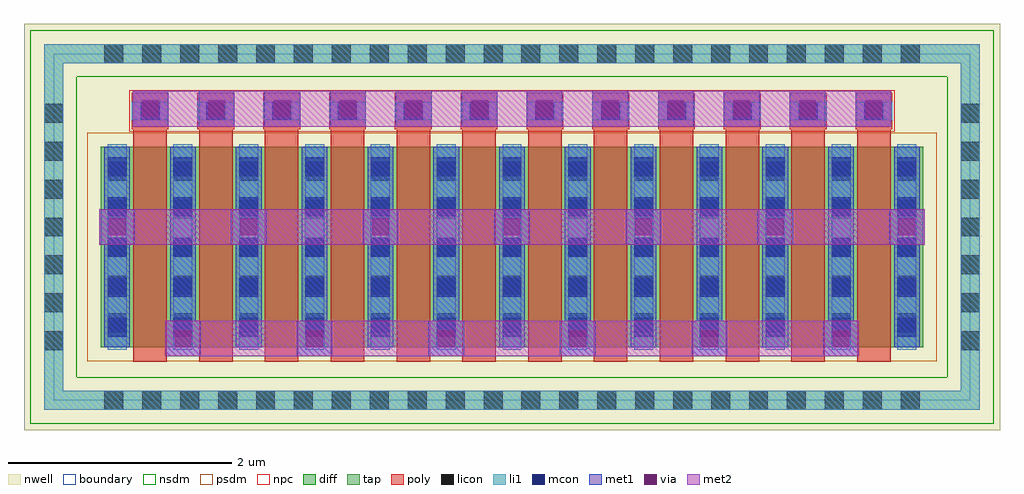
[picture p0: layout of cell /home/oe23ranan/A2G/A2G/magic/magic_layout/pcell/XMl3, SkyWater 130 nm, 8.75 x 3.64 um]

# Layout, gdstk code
import gdstk
lib = gdstk.Library(unit=1e-6, precision=1e-09)
def R(c, l, rs):  # rectangles x0, y0, x1, y1
    for r in rs: c.add(gdstk.rectangle(r[:2], r[2:], *l))
def A(c, l, x, y, w, h, nx, ny, dx, dy):  # array of equal rectangles
    R(c, l, [(x+i*dx, y+j*dy, x+i*dx+w, y+j*dy+h) for i in range(nx) for j in range(ny)])
nwell = (64, 20)
diff = (65, 20)
tap = (65, 44)
poly = (66, 20)
licon = (66, 44)
li1 = (67, 20)
mcon = (67, 44)
met1 = (68, 20)
via = (68, 44)
met2 = (69, 20)
nsdm = (93, 44)
psdm = (94, 20)
npc = (95, 20)
boundary = (235, 4)

via_m1_m2_1 = lib.new_cell('via_M1_M2_1')
R(via_m1_m2_1, met1, [(-0.16,-0.16,0.16,0.16)])
R(via_m1_m2_1, via, [(-0.075,-0.075,0.075,0.075)])
R(via_m1_m2_1, met2, [(-0.16,-0.16,0.16,0.16)])

xml3_origin = lib.new_cell('XMl3_origin')
R(xml3_origin, nwell, [(-4.375,-1.82,4.375,1.82)])
R(xml3_origin, diff, [(-3.685,-1.08,3.685,0.72)])
R(xml3_origin, tap, [(-4.195,-1.64,4.195,-1.47), (-4.195,-1.47,-4.025,1.47), (4.025,-1.47,4.195,1.47), (-4.195,1.47,4.195,1.64)])
A(xml3_origin, poly, -3.395, -1.21, 0.3, 2.085, 12, 1, 0.59, 0)
A(xml3_origin, poly, -3.41, 0.875, 0.33, 0.33, 12, 1, 0.59, 0)
A(xml3_origin, licon, -3.655, -1.64, 0.17, 0.17, 22, 2, 0.34, 3.11)
A(xml3_origin, licon, -4.195, -1.105, 0.17, 0.17, 1, 7, 0, 0.34)
A(xml3_origin, licon, 4.025, -1.105, 0.17, 0.17, 1, 7, 0, 0.34)
A(xml3_origin, licon, -3.625, -0.945, 0.17, 0.17, 13, 5, 0.59, 0.34)
A(xml3_origin, licon, -3.33, 0.955, 0.17, 0.17, 12, 1, 0.59, 0)
A(xml3_origin, li1, -3.625, -1.1, 0.17, 1.84, 13, 1, 0.59, 0)
A(xml3_origin, li1, -3.41, 0.955, 0.33, 0.17, 12, 1, 0.59, 0)
R(xml3_origin, li1, [(-4.195,-1.64,4.195,-1.47), (-4.195,-1.47,-4.025,1.47), (4.025,-1.47,4.195,1.47), (-4.195,1.47,4.195,1.64)])
A(xml3_origin, mcon, -3.625, -0.985, 0.17, 0.17, 13, 5, 0.59, 0.36)
A(xml3_origin, mcon, -3.33, 0.955, 0.17, 0.17, 12, 1, 0.59, 0)
A(xml3_origin, met1, -3.655, -1.08, 0.23, 1.8, 13, 1, 0.59, 0)
A(xml3_origin, met1, -3.39, 0.925, 0.29, 0.23, 12, 1, 0.59, 0)
R(xml3_origin, nsdm, [(-4.32,-1.765,4.32,-1.345), (-4.32,-1.345,-3.9,1.345), (3.9,-1.345,4.32,1.345), (-4.32,1.345,4.32,1.765)])
R(xml3_origin, psdm, [(-3.81,-1.205,3.81,0.845)])
R(xml3_origin, npc, [(-3.43,0.855,3.43,1.225)])
R(xml3_origin, boundary, [(-4.11,-1.555,4.11,1.555)])
xml3_origin.add(gdstk.Label('G', (-3.245,1.04), layer=68, texttype=5))
xml3_origin.add(gdstk.Label('G', (-2.655,1.04), layer=68, texttype=5))
xml3_origin.add(gdstk.Label('G', (-2.065,1.04), layer=68, texttype=5))
xml3_origin.add(gdstk.Label('G', (-1.475,1.04), layer=68, texttype=5))
xml3_origin.add(gdstk.Label('G', (-0.885,1.04), layer=68, texttype=5))
xml3_origin.add(gdstk.Label('G', (-0.295,1.04), layer=68, texttype=5))
xml3_origin.add(gdstk.Label('G', (0.295,1.04), layer=68, texttype=5))
xml3_origin.add(gdstk.Label('G', (0.885,1.04), layer=68, texttype=5))
xml3_origin.add(gdstk.Label('G', (1.475,1.04), layer=68, texttype=5))
xml3_origin.add(gdstk.Label('G', (2.065,1.04), layer=68, texttype=5))
xml3_origin.add(gdstk.Label('G', (2.655,1.04), layer=68, texttype=5))
xml3_origin.add(gdstk.Label('G', (3.245,1.04), layer=68, texttype=5))
xml3_origin.add(gdstk.Label('D', (-3.54,-0.18), layer=68, texttype=5))
xml3_origin.add(gdstk.Label('S', (-2.95,-0.18), layer=68, texttype=5))
xml3_origin.add(gdstk.Label('D', (-2.36,-0.18), layer=68, texttype=5))
xml3_origin.add(gdstk.Label('S', (-1.77,-0.18), layer=68, texttype=5))
xml3_origin.add(gdstk.Label('D', (-1.18,-0.18), layer=68, texttype=5))
xml3_origin.add(gdstk.Label('S', (-0.59,-0.18), layer=68, texttype=5))
xml3_origin.add(gdstk.Label('D', (0,-0.18), layer=68, texttype=5))
xml3_origin.add(gdstk.Label('S', (0.59,-0.18), layer=68, texttype=5))
xml3_origin.add(gdstk.Label('D', (1.18,-0.18), layer=68, texttype=5))
xml3_origin.add(gdstk.Label('S', (1.77,-0.18), layer=68, texttype=5))
xml3_origin.add(gdstk.Label('D', (2.36,-0.18), layer=68, texttype=5))
xml3_origin.add(gdstk.Label('S', (2.95,-0.18), layer=68, texttype=5))
xml3_origin.add(gdstk.Label('D', (3.54,-0.18), layer=68, texttype=5))

c__home_oe23ranan_a2g_a2g_ = lib.new_cell('/home/oe23ranan/A2G/A2G/magic/magic_layout/pcell/XMl3')
R(c__home_oe23ranan_a2g_a2g_, met2, [(-3.11,-1.16,3.11,-0.84), (-3.7,-0.16,3.7,0.16), (-3.4,0.9,3.4,1.22)])
c__home_oe23ranan_a2g_a2g_.add(gdstk.Reference(via_m1_m2_1, (-3.54,0)))
c__home_oe23ranan_a2g_a2g_.add(gdstk.Reference(via_m1_m2_1, (-2.95,-1)))
c__home_oe23ranan_a2g_a2g_.add(gdstk.Reference(via_m1_m2_1, (-2.36,0)))
c__home_oe23ranan_a2g_a2g_.add(gdstk.Reference(via_m1_m2_1, (-1.77,-1)))
c__home_oe23ranan_a2g_a2g_.add(gdstk.Reference(via_m1_m2_1, (-1.18,0)))
c__home_oe23ranan_a2g_a2g_.add(gdstk.Reference(via_m1_m2_1, (-0.59,-1)))
c__home_oe23ranan_a2g_a2g_.add(gdstk.Reference(via_m1_m2_1, (0,0)))
c__home_oe23ranan_a2g_a2g_.add(gdstk.Reference(via_m1_m2_1, (1.18,0)))
c__home_oe23ranan_a2g_a2g_.add(gdstk.Reference(via_m1_m2_1, (0.59,-1)))
c__home_oe23ranan_a2g_a2g_.add(gdstk.Reference(via_m1_m2_1, (1.77,-1)))
c__home_oe23ranan_a2g_a2g_.add(gdstk.Reference(via_m1_m2_1, (2.36,0)))
c__home_oe23ranan_a2g_a2g_.add(gdstk.Reference(via_m1_m2_1, (2.95,-1)))
c__home_oe23ranan_a2g_a2g_.add(gdstk.Reference(via_m1_m2_1, (3.54,0)))
c__home_oe23ranan_a2g_a2g_.add(gdstk.Reference(via_m1_m2_1, (3.24,1.06)))
c__home_oe23ranan_a2g_a2g_.add(gdstk.Reference(via_m1_m2_1, (2.65,1.06)))
c__home_oe23ranan_a2g_a2g_.add(gdstk.Reference(via_m1_m2_1, (2.06,1.06)))
c__home_oe23ranan_a2g_a2g_.add(gdstk.Reference(via_m1_m2_1, (1.47,1.06)))
c__home_oe23ranan_a2g_a2g_.add(gdstk.Reference(via_m1_m2_1, (0.88,1.06)))
c__home_oe23ranan_a2g_a2g_.add(gdstk.Reference(via_m1_m2_1, (0.29,1.06)))
c__home_oe23ranan_a2g_a2g_.add(gdstk.Reference(via_m1_m2_1, (-0.29,1.06)))
c__home_oe23ranan_a2g_a2g_.add(gdstk.Reference(via_m1_m2_1, (-0.88,1.06)))
c__home_oe23ranan_a2g_a2g_.add(gdstk.Reference(via_m1_m2_1, (-1.47,1.06)))
c__home_oe23ranan_a2g_a2g_.add(gdstk.Reference(via_m1_m2_1, (-2.06,1.06)))
c__home_oe23ranan_a2g_a2g_.add(gdstk.Reference(via_m1_m2_1, (-2.65,1.06)))
c__home_oe23ranan_a2g_a2g_.add(gdstk.Reference(via_m1_m2_1, (-3.24,1.06)))
c__home_oe23ranan_a2g_a2g_.add(gdstk.Reference(xml3_origin, (0,0)))

lib.write_gds('_home_oe23ranan_A2G_A2G_magic_magic_layout_pcell_XMl3.gds')
